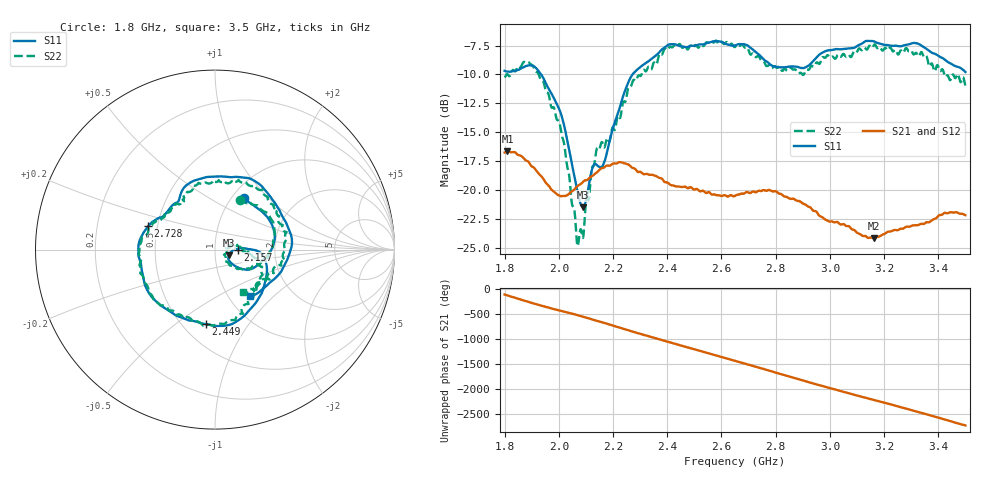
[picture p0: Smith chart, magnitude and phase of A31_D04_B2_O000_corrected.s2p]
! Created with skrf 1.9.0 (http://scikit-rf.org).
# Hz S RI R 50.0
!freq ReS11 ImS11 ReS21 ImS21 ReS12 ImS12 ReS22 ImS22
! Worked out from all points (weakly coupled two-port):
!   1601 points, 1.8 GHz to 3.5 GHz, reference 50 ohm
!   highest |S21| = -16.65 dB at 1.811 GHz (marker M1); lowest = -24.1 dB at 3.162 GHz (marker M2)
!   lowest |S11| = -21.5 dB at 2.089 GHz (marker M3), VSWR 1.18, Z = 58.4 - j3.76 ohm
!   |S11| at or under -10 dB: 1.935 GHz to 2.272 GHz (337.2 MHz wide, 16 % of centre)
!   |S22| runs from -24.8 to -7.1 dB; largest |S21 - S12| = 0.0022
!   S11 on the Smith chart (normalised r, x): 1.8 GHz: 1.14, +0.73; 2.157 GHz: 1.29, -0.00; 2.449 GHz: 0.64, -0.65; 2.728 GHz: 0.44, +0.14; 3.5 GHz: 1.25, -0.72
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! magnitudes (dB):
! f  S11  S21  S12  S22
! 1.8 GHz  -9.7  -16.7  -16.7  -10.3
! 1.811 GHz  -9.8  -16.7  -16.7  -10.0
! 1.883 GHz  -9.3  -17.5  -17.5  -8.9
! 1.941 GHz  -10.2  -19.0  -19.0  -10.5
! 2.01 GHz  -13.6  -20.5  -20.5  -15.2
! 2.067 GHz  -19.9  -19.7  -19.7  -24.5
! 2.084 GHz  -21.3  -19.4  -19.4  -23.5
! 2.089 GHz  -21.5  -19.3  -19.3  -24.1
! 2.126 GHz  -18.0  -18.7  -18.7  -17.9
! 2.157 GHz  -18.0  -18.1  -18.1  -15.9
! 2.188 GHz  -15.7  -17.9  -17.9  -15.7
! 2.262 GHz  -10.4  -17.9  -17.9  -11.1
! 2.367 GHz  -8.2  -18.9  -18.8  -8.5
! 2.449 GHz  -7.6  -19.7  -19.7  -7.5
! 2.65 GHz  -7.5  -20.5  -20.5  -7.6
! 2.728 GHz  -8.1  -20.2  -20.2  -8.5
! 2.8 GHz  -9.3  -20.1  -20.1  -9.4
! 2.934 GHz  -9.0  -21.6  -21.6  -9.3
! 3.162 GHz  -7.1  -24.1  -24.1  -7.5
! 3.217 GHz  -7.5  -23.6  -23.5  -7.8
! 3.324 GHz  -7.3  -23.0  -23.0  -8.3
! 3.5 GHz  -9.8  -22.2  -22.1  -11.0
